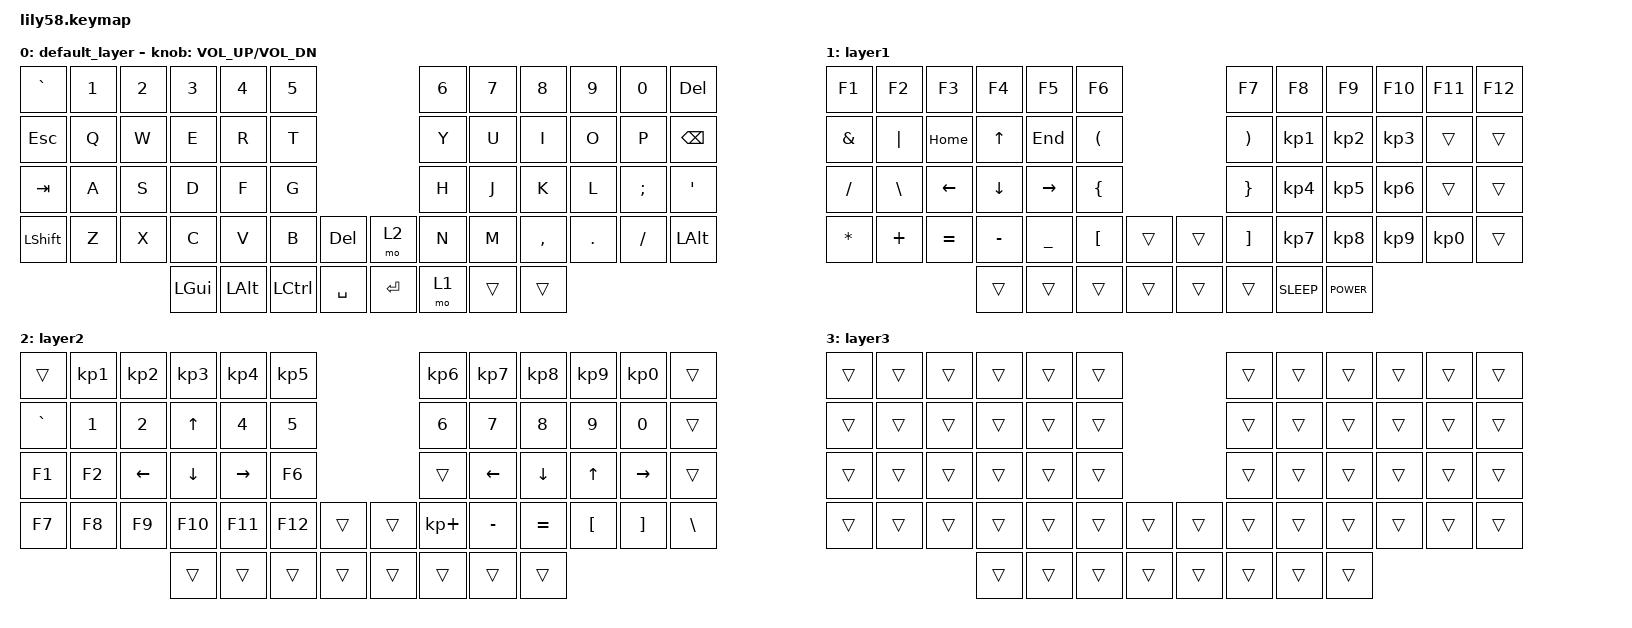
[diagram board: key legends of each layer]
/*
 * Copyright (c) 2020 The ZMK Contributors
 *
 * SPDX-License-Identifier: MIT
 */

#include <behaviors.dtsi>
#include <dt-bindings/zmk/keys.h>

/ {
    keymap {
        compatible = "zmk,keymap";

        default_layer {
            // ------------------------------------------------------------------------------------------------------------
            // |  ESC  |  1  |  2  |  3   |  4   |  5   |                   |  6   |  7    |  8    |  9   |   0   |   `   |
            // |  TAB  |  Q  |  W  |  E   |  R   |  T   |                   |  Y   |  U    |  I    |  O   |   P   |   -   |
            // |  CTRL |  A  |  S  |  D   |  F   |  G   |                   |  H   |  J    |  K    |  L   |   ;   |   '   |
            // | SHIFT |  Z  |  X  |  C   |  V   |  B   |   "["  |  |  "]"  |  N   |  M    |  ,    |  .   |   /   | SHIFT |
            //                     | ALT  | GUI  | LOWER|  SPACE |  | ENTER | RAISE| BSPC  | GUI   |

            bindings = <
&kp GRAVE  &kp N1  &kp N2  &kp N3    &kp N4        &kp N5                            &kp N6  &kp N7  &kp N8     &kp N9   &kp N0    &kp DELETE
&kp ESC    &kp Q   &kp W   &kp E     &kp R         &kp T                             &kp Y   &kp U   &kp I      &kp O    &kp P     &kp BACKSPACE
&kp TAB    &kp A   &kp S   &kp D     &kp F         &kp G                             &kp H   &kp J   &kp K      &kp L    &kp SEMI  &kp SQT
&kp LSHFT  &kp Z   &kp X   &kp C     &kp V         &kp B      &kp DELETE    &mo 2    &kp N   &kp M   &kp COMMA  &kp DOT  &kp FSLH  &kp LEFT_ALT
                           &kp LGUI  &kp LEFT_ALT  &kp LCTRL  &kp SPACE     &kp RET  &mo 1   &trans  &trans
            >;

            sensor-bindings = <&inc_dec_kp C_VOL_UP C_VOL_DN>;
        };

        layer1 {
            // ------------------------------------------------------------------------------------------------------------
            // | BTCLR | BT1 | BT2 |  BT3 |  BT4 |  BT5 |                   |      |       |       |      |       |       |
            // |  F1   |  F2 |  F3 |  F4  |  F5  |  F6  |                   |  F7  |  F8   |  F9   |  F10 |  F11  |  F12  |
            // |   `   |  !  |  @  |  #   |  $   |  %   |                   |  ^   |  &    |  *    |  (   |   )   |   ~   |
            // |       |     |     |      |      |      |        |  |       |      |  _    |  +    |  {   |   }   |  "|"  |
            //                     |      |      |      |        |  |       |      |       |       |

            bindings = <
&kp F1         &kp F2         &kp F3     &kp F4        &kp F5          &kp F6                              &kp F7             &kp F8       &kp F9       &kp F10          &kp F11    &kp F12
&kp AMPERSAND  &kp PIPE       &kp HOME   &kp UP_ARROW  &kp END         &kp LPAR                            &kp RPAR           &kp KP_N1    &kp KP_N2    &kp KP_N3        &trans     &trans
&kp SLASH      &kp BACKSLASH  &kp LEFT   &kp DOWN      &kp RIGHT       &kp LEFT_BRACE                      &kp RBRC           &kp KP_N4    &kp KP_N5    &kp KP_NUMBER_6  &trans     &trans
&kp ASTRK      &kp PLUS       &kp EQUAL  &kp MINUS     &kp UNDERSCORE  &kp LEFT_BRACKET  &trans    &trans  &kp RIGHT_BRACKET  &kp KP_N7    &kp KP_N8    &kp KP_N9        &kp KP_N0  &trans
                                         &trans        &trans          &trans            &trans    &trans  &trans             &kp C_SLEEP  &kp C_POWER
            >;
        };

        layer2 {
            // ------------------------------------------------------------------------------------------------------------
            // |       |     |     |      |      |      |                   |      |       |       |      |       |       |
            // |   `   |  1  |  2  |  3   |  4   |  5   |                   |  6   |   7   |   8   |  9   |   0   |       |
            // |   F1  |  F2 |  F3 |  F4  |  F5  |  F6  |                   |      |   <-  |   v   |  ^   |  ->   |       |
            // |   F7  |  F8 |  F9 |  F10 |  F11 |  F12 |        |  |       |  +   |   -   |   =   |  [   |   ]   |   \   |
            //                     |      |      |      |        |  |       |      |       |       |

            bindings = <
&trans     &kp KP_N1  &kp KP_N2  &kp KP_NUMBER_3  &kp KP_NUMBER_4  &kp KP_N5                    &kp KP_NUMBER_6  &kp KP_N7  &kp KP_N8  &kp KP_N9  &kp KP_N0  &trans
&kp GRAVE  &kp N1     &kp N2     &kp UP           &kp N4           &kp N5                       &kp N6           &kp N7     &kp N8     &kp N9     &kp N0     &trans
&kp F1     &kp F2     &kp LEFT   &kp DOWN         &kp RIGHT        &kp F6                       &trans           &kp LEFT   &kp DOWN   &kp UP     &kp RIGHT  &trans
&kp F7     &kp F8     &kp F9     &kp F10          &kp F11          &kp F12    &trans    &trans  &kp KP_PLUS      &kp MINUS  &kp EQUAL  &kp LBKT   &kp RBKT   &kp BSLH
                                 &trans           &trans           &trans     &trans    &trans  &trans           &trans     &trans
            >;
        };

        layer3 {
            bindings = <
&trans  &trans  &trans  &trans  &trans  &trans                    &trans  &trans  &trans  &trans  &trans  &trans
&trans  &trans  &trans  &trans  &trans  &trans                    &trans  &trans  &trans  &trans  &trans  &trans
&trans  &trans  &trans  &trans  &trans  &trans                    &trans  &trans  &trans  &trans  &trans  &trans
&trans  &trans  &trans  &trans  &trans  &trans  &trans    &trans  &trans  &trans  &trans  &trans  &trans  &trans
                        &trans  &trans  &trans  &trans    &trans  &trans  &trans  &trans
            >;
        };
    };
};
